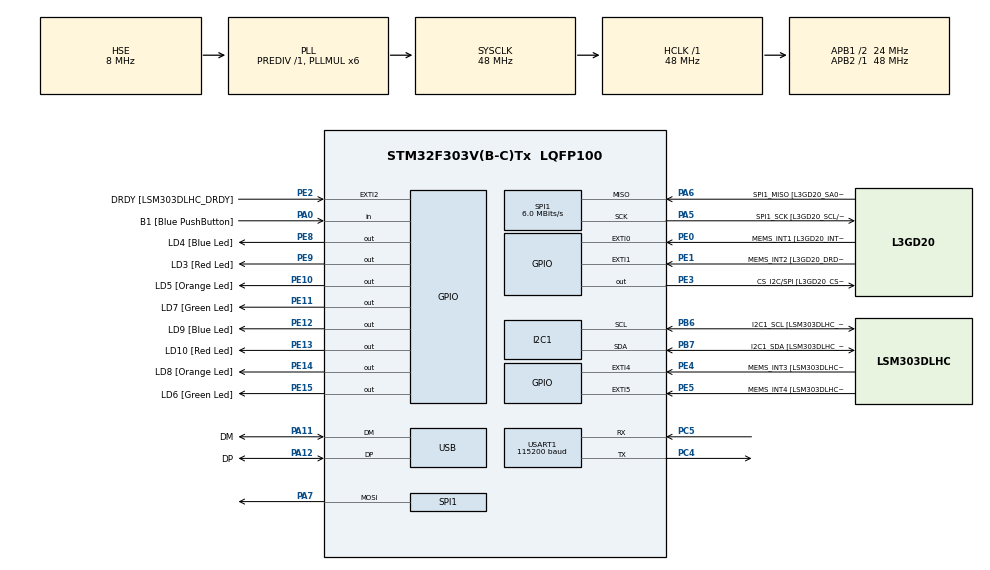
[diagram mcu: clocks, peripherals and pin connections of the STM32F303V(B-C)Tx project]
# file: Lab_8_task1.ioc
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I2C1.Timing=0x00201D2B
I2C1.Timing-I2C=0x2000090E
Mcu.Family=STM32F3
Mcu.Name=STM32F303V(B-C)Tx
Mcu.Package=LQFP100
NVIC.PriorityGroup=NVIC_PRIORITYGROUP_0
NVIC.SPI1_IRQn=true\:0\:0\:false\:false\:true\:true\:true\:true
PA0.GPIO_Label=B1 [Blue PushButton]
PA0.Signal=GPIO_Input
PA11.GPIO_Label=DM
PA11.Mode=Device
PA11.Signal=USB_DM
PA12.GPIO_Label=DP
PA12.Mode=Device
PA12.Signal=USB_DP
PA13.GPIO_Label=SWDIO
PA13.Mode=Serial_Wire
PA13.Signal=SYS_JTMS-SWDIO
PA14.GPIO_Label=SWCLK
PA14.Mode=Serial_Wire
PA14.Signal=SYS_JTCK-SWCLK
PA5.GPIO_Label=SPI1_SCK [L3GD20_SCL/SPC]
PA5.Mode=Full_Duplex_Master
PA5.Signal=SPI1_SCK
PA6.GPIO_Label=SPI1_MISO [L3GD20_SA0/SDO]
PA6.Mode=Full_Duplex_Master
PA6.Signal=SPI1_MISO
PA7.Mode=Full_Duplex_Master
PA7.Signal=SPI1_MOSI
PB3.GPIO_Label=SWO
PB3.Signal=SYS_JTDO-TRACESWO
PB6.GPIO_Label=I2C1_SCL [LSM303DLHC_SCL]
PB6.GPIO_Pu=GPIO_PULLUP
PB6.Mode=I2C
PB6.Signal=I2C1_SCL
PB7.GPIO_Label=I2C1_SDA [LSM303DLHC_SDA]
PB7.GPIO_Pu=GPIO_PULLUP
PB7.Mode=I2C
PB7.Signal=I2C1_SDA
PC14-OSC32_IN.GPIO_Label=OSC32_IN
PC14-OSC32_IN.Signal=RCC_OSC32_IN
PC15-OSC32_OUT.GPIO_Label=OSC32_OUT
PC15-OSC32_OUT.Signal=RCC_OSC32_OUT
PC4.Mode=Asynchronous
PC4.Signal=USART1_TX
PC5.Mode=Asynchronous
PC5.Signal=USART1_RX
PE0.GPIO_Label=MEMS_INT1 [L3GD20_INT1]
PE0.GPIO_ModeDefaultEXTI=GPIO_MODE_EVT_RISING
PE0.Signal=GPXTI0
PE1.GPIO_Label=MEMS_INT2 [L3GD20_DRDY/INT2]
PE1.GPIO_ModeDefaultEXTI=GPIO_MODE_EVT_RISING
PE1.Signal=GPXTI1
PE10.GPIO_Label=LD5 [Orange Led]
PE10.Signal=GPIO_Output
PE11.GPIO_Label=LD7 [Green Led]
PE11.Signal=GPIO_Output
PE12.GPIO_Label=LD9 [Blue Led]
PE12.Signal=GPIO_Output
PE13.GPIO_Label=LD10 [Red Led]
PE13.Signal=GPIO_Output
PE14.GPIO_Label=LD8 [Orange Led]
PE14.Signal=GPIO_Output
PE15.GPIO_Label=LD6 [Green Led]
PE15.Signal=GPIO_Output
PE2.GPIO_Label=DRDY [LSM303DLHC_DRDY]
PE2.GPIO_ModeDefaultEXTI=GPIO_MODE_EVT_RISING
PE2.Signal=GPXTI2
PE3.GPIO_Label=CS_I2C/SPI [L3GD20_CS_I2C/SPI]
PE3.Signal=GPIO_Output
PE4.GPIO_Label=MEMS_INT3 [LSM303DLHC_INT1]
PE4.GPIO_ModeDefaultEXTI=GPIO_MODE_EVT_RISING
PE4.Signal=GPXTI4
PE5.GPIO_Label=MEMS_INT4 [LSM303DLHC_INT2]
PE5.GPIO_ModeDefaultEXTI=GPIO_MODE_EVT_RISING
PE5.Signal=GPXTI5
PE8.GPIO_Label=LD4 [Blue Led]
PE8.Signal=GPIO_Output
PE9.GPIO_Label=LD3 [Red Led]
PE9.Signal=GPIO_Output
PF0-OSC_IN.GPIO_Label=OSC_IN
PF0-OSC_IN.Mode=HSE-External-Clock-Source
PF0-OSC_IN.Signal=RCC_OSC_IN
PF1-OSC_OUT.GPIO_Label=OSC_OUT
PF1-OSC_OUT.Signal=RCC_OSC_OUT
ProjectManager.HeapSize=0x200
ProjectManager.StackSize=0x400
ProjectManager.TargetToolchain=CMake
RCC.AHBFreq_Value=48000000
RCC.APB1CLKDivider=RCC_HCLK_DIV2
RCC.APB1Freq_Value=24000000
RCC.APB1TimFreq_Value=48000000
RCC.APB2Freq_Value=48000000
RCC.APB2TimFreq_Value=48000000
RCC.CortexFreq_Value=48000000
RCC.HCLKFreq_Value=48000000
RCC.HSE_VALUE=8000000
RCC.HSI_VALUE=8000000
RCC.LSE_VALUE=32768
RCC.PLLMUL=RCC_PLL_MUL6
RCC.SYSCLKFreq_VALUE=48000000
RCC.SYSCLKSourceVirtual=RCC_SYSCLKSOURCE_PLLCLK
RCC.USBFreq_Value=48000000
SPI1.BaudRatePrescaler=SPI_BAUDRATEPRESCALER_8
SPI1.CLKPhase=SPI_PHASE_2EDGE
SPI1.CLKPolarity=SPI_POLARITY_HIGH
SPI1.CalculateBaudRate=6.0 MBits/s
SPI1.DataSize=SPI_DATASIZE_8BIT
SPI1.Direction=SPI_DIRECTION_2LINES
SPI1.Mode=SPI_MODE_MASTER
SPI1.VirtualType=VM_MASTER
USART1.BaudRate=115200
USART1.VirtualMode-Asynchronous=VM_ASYNC
board=STM32F3DISCOVERY

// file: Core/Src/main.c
/* USER CODE BEGIN Header */
/**
  * @file           : main.c
  * @brief          : Main program body
  * @attention
  *
  * Copyright (c) 2026 STMicroelectronics.
  * All rights reserved.
  *
  * This software is licensed under terms that can be found in the LICENSE file
  * in the root directory of this software component.
  * If no LICENSE file comes with this software, it is provided AS-IS.
  *
  */
/* USER CODE END Header */

#include "main.h"

/* USER CODE BEGIN Includes */
#include <stdio.h>
/* USER CODE END Includes */

I2C_HandleTypeDef hi2c1;
SPI_HandleTypeDef hspi1;
UART_HandleTypeDef huart1;
PCD_HandleTypeDef hpcd_USB_FS;

/* USER CODE BEGIN PV */
#define GYRO_WHO_AM_I_REG   0x0F  // WHO_AM_I register address
#define GYRO_READ_BIT       0x80  // Bit 7 = 1 means READ operation
#define CTRL_REG1           0x20  // Control register 1
#define CTRL_REG1_VAL       0x0F  // 0b00001111 -> PD=1 (power on), X/Y/Z axes enabled
#define TEMP_REG            0x26  // Temperature output register (I3G4250D)

// Buffers for SPI interrupt mode
uint8_t tx_buf[1];  // Transmit buffer (sends register address command)
uint8_t rx_buf[1];  // Receive buffer (receives temperature byte)

// State flag to track where we are in the read sequence
volatile uint8_t spi_state = 0;

#define CTRL_REG4           0x23  // Control register 4 for sensitivity[cite: 15]
#define CTRL_REG4_VAL       0x00  // +/- 245 dps[cite: 15]

int16_t x_offset = 0, y_offset = 0, z_offset = 0;

/* USER CODE END PV */

void SystemClock_Config(void);
static void MX_GPIO_Init(void);
static void MX_I2C1_Init(void);
static void MX_SPI1_Init(void);
static void MX_USART1_UART_Init(void);
static void MX_USB_PCD_Init(void);

/* USER CODE BEGIN PFP */
void gyro_init(void);
void Gyro_RequestTemperature(void);
/* USER CODE END PFP */

/* USER CODE BEGIN 0 */
int _write(int file, char *ptr, int len) {
    HAL_UART_Transmit(&huart1, (uint8_t *)ptr, len, HAL_MAX_DELAY);
    return len;
}

void gyro_init(void) {
    uint8_t tx[2] = { CTRL_REG1, CTRL_REG1_VAL };
    HAL_GPIO_WritePin(GPIOE, CS_I2C_SPI_Pin, GPIO_PIN_RESET); // CS LOW
    HAL_SPI_Transmit(&hspi1, tx, 2, HAL_MAX_DELAY);
    HAL_GPIO_WritePin(GPIOE, CS_I2C_SPI_Pin, GPIO_PIN_SET);   // CS HIGH
}

void gyro_set_ctrl_reg4(void) {
    uint8_t tx[2] = { CTRL_REG4, CTRL_REG4_VAL };
    HAL_GPIO_WritePin(GPIOE, CS_I2C_SPI_Pin, GPIO_PIN_RESET); // CS LOW
    HAL_SPI_Transmit(&hspi1, tx, 2, HAL_MAX_DELAY);
    HAL_GPIO_WritePin(GPIOE, CS_I2C_SPI_Pin, GPIO_PIN_SET);   // CS HIGH
}

uint8_t spi_read(uint8_t reg) {
    uint8_t tx[2];
    uint8_t rx[2];
    tx[0] = reg | 0x80; // Read command (MSB = 1)
    tx[1] = 0x00;
    HAL_GPIO_WritePin(GPIOE, CS_I2C_SPI_Pin, GPIO_PIN_RESET);
    HAL_SPI_TransmitReceive(&hspi1, tx, rx, 2, HAL_MAX_DELAY);
    HAL_GPIO_WritePin(GPIOE, CS_I2C_SPI_Pin, GPIO_PIN_SET);
    return rx[1];
}

void gyro_calibrate(void) {
    int32_t x_sum = 0, y_sum = 0, z_sum = 0;
    const int samples = 30;
    for(int i = 0; i < samples; i++) {
        int16_t x = (int16_t)(spi_read(0x29) << 8 | spi_read(0x28));
        int16_t y = (int16_t)(spi_read(0x2B) << 8 | spi_read(0x2A));
        int16_t z = (int16_t)(spi_read(0x2D) << 8 | spi_read(0x2C));
        x_sum += x;
        y_sum += y;
        z_sum += z;
        HAL_Delay(5);
    }
    x_offset = x_sum / samples;
    y_offset = y_sum / samples;
    z_offset = z_sum / samples;
}
/* USER CODE END 0 */
int main(void)
{

  /* MCU Configuration--------------------------------------------------------*/
  HAL_Init();

  /* Configure the system clock */
  SystemClock_Config();

  /* Initialize all configured peripherals */
  MX_GPIO_Init();
  MX_I2C1_Init();
  MX_SPI1_Init();
  MX_USART1_UART_Init();
  MX_USB_PCD_Init();

/* USER CODE BEGIN 2 */
  HAL_GPIO_WritePin(GPIOE, CS_I2C_SPI_Pin, GPIO_PIN_SET);
  HAL_Delay(100);

  // Initialize gyroscope and set sensitivity
  gyro_init();
  gyro_set_ctrl_reg4();
  gyro_calibrate();
  /* USER CODE END 2 */

  /* Infinite loop */
  while (1)
  {

    /* USER CODE BEGIN 3 */
    uint8_t buffer[6];
    // OUT_X_L (0x28) + Read bit (0x80) + Auto-increment bit (0x40) = 0xE8
    uint8_t reg = 0x28 | 0x80 | 0x40;

    // 1. Perform a Burst Read for X, Y, and Z (6 bytes total)
    HAL_GPIO_WritePin(GPIOE, CS_I2C_SPI_Pin, GPIO_PIN_RESET);
    HAL_SPI_Transmit(&hspi1, &reg, 1, HAL_MAX_DELAY);
    HAL_SPI_Receive(&hspi1, buffer, 6, HAL_MAX_DELAY);
    HAL_GPIO_WritePin(GPIOE, CS_I2C_SPI_Pin, GPIO_PIN_SET);

    // 2. Reconstruct 16-bit signed values (little-endian format: low byte first)[cite: 16]
    int16_t x_raw = (int16_t)((buffer[1] << 8) | buffer[0]);
    int16_t y_raw = (int16_t)((buffer[3] << 8) | buffer[2]);
    int16_t z_raw = (int16_t)((buffer[5] << 8) | buffer[4]);

    // 3. Convert to Degrees per Second (dps) using +/-245 dps factor (0.00875)[cite: 16]
    float x_dps = (x_raw - x_offset) * 0.00875f;
    float y_dps = (y_raw - y_offset) * 0.00875f;
    float z_dps = (z_raw - z_offset) * 0.00875f;

    // 4. Read Temperature separately from OUT_TEMP (0x26)[cite: 16]
    int8_t temp = (int8_t)spi_read(TEMP_REG);

    // 5. Send values via UART using comma-separated format: <temp>, <x_dps>, <y_dps>, <z_dps>[cite: 16]
    printf("%d,%d,%d,%d\r\n",
          temp,
          (int)(x_dps * 100),
          (int)(y_dps * 100),
          (int)(z_dps * 100));

    HAL_Delay(100); // 100 ms delay between readings[cite: 17]
  }
  /* USER CODE END 3 */
}

void SystemClock_Config(void)
{
  RCC_OscInitTypeDef RCC_OscInitStruct = {0};
  RCC_ClkInitTypeDef RCC_ClkInitStruct = {0};
  RCC_PeriphCLKInitTypeDef PeriphClkInit = {0};

  /** Initializes the RCC Oscillators according to the specified parameters
  * in the RCC_OscInitTypeDef structure.
  */
  RCC_OscInitStruct.OscillatorType = RCC_OSCILLATORTYPE_HSI|RCC_OSCILLATORTYPE_HSE;
  RCC_OscInitStruct.HSEState = RCC_HSE_BYPASS;
  RCC_OscInitStruct.HSEPredivValue = RCC_HSE_PREDIV_DIV1;
  RCC_OscInitStruct.HSIState = RCC_HSI_ON;
  RCC_OscInitStruct.HSICalibrationValue = RCC_HSICALIBRATION_DEFAULT;
  RCC_OscInitStruct.PLL.PLLState = RCC_PLL_ON;
  RCC_OscInitStruct.PLL.PLLSource = RCC_PLLSOURCE_HSE;
  RCC_OscInitStruct.PLL.PLLMUL = RCC_PLL_MUL6;
  if (HAL_RCC_OscConfig(&RCC_OscInitStruct) != HAL_OK)
  {
    Error_Handler();
  }

  /** Initializes the CPU, AHB and APB buses clocks
  */
  RCC_ClkInitStruct.ClockType = RCC_CLOCKTYPE_HCLK|RCC_CLOCKTYPE_SYSCLK
                              |RCC_CLOCKTYPE_PCLK1|RCC_CLOCKTYPE_PCLK2;
  RCC_ClkInitStruct.SYSCLKSource = RCC_SYSCLKSOURCE_PLLCLK;
  RCC_ClkInitStruct.AHBCLKDivider = RCC_SYSCLK_DIV1;
  RCC_ClkInitStruct.APB1CLKDivider = RCC_HCLK_DIV2;
  RCC_ClkInitStruct.APB2CLKDivider = RCC_HCLK_DIV1;

  if (HAL_RCC_ClockConfig(&RCC_ClkInitStruct, FLASH_LATENCY_1) != HAL_OK)
  {
    Error_Handler();
  }
  PeriphClkInit.PeriphClockSelection = RCC_PERIPHCLK_USB|RCC_PERIPHCLK_USART1
                              |RCC_PERIPHCLK_I2C1;
  PeriphClkInit.Usart1ClockSelection = RCC_USART1CLKSOURCE_PCLK2;
  PeriphClkInit.I2c1ClockSelection = RCC_I2C1CLKSOURCE_HSI;
  PeriphClkInit.USBClockSelection = RCC_USBCLKSOURCE_PLL;
  if (HAL_RCCEx_PeriphCLKConfig(&PeriphClkInit) != HAL_OK)
  {
    Error_Handler();
  }
}

static void MX_I2C1_Init(void)
{

  hi2c1.Instance = I2C1;
  hi2c1.Init.Timing = 0x00201D2B;
  hi2c1.Init.OwnAddress1 = 0;
  hi2c1.Init.AddressingMode = I2C_ADDRESSINGMODE_7BIT;
  hi2c1.Init.DualAddressMode = I2C_DUALADDRESS_DISABLE;
  hi2c1.Init.OwnAddress2 = 0;
  hi2c1.Init.OwnAddress2Masks = I2C_OA2_NOMASK;
  hi2c1.Init.GeneralCallMode = I2C_GENERALCALL_DISABLE;
  hi2c1.Init.NoStretchMode = I2C_NOSTRETCH_DISABLE;
  if (HAL_I2C_Init(&hi2c1) != HAL_OK)
  {
    Error_Handler();
  }

  /** Configure Analogue filter
  */
  if (HAL_I2CEx_ConfigAnalogFilter(&hi2c1, I2C_ANALOGFILTER_ENABLE) != HAL_OK)
  {
    Error_Handler();
  }

  /** Configure Digital filter
  */
  if (HAL_I2CEx_ConfigDigitalFilter(&hi2c1, 0) != HAL_OK)
  {
    Error_Handler();
  }
}

static void MX_SPI1_Init(void)
{

  /* SPI1 parameter configuration*/
  hspi1.Instance = SPI1;
  hspi1.Init.Mode = SPI_MODE_MASTER;
  hspi1.Init.Direction = SPI_DIRECTION_2LINES;
  hspi1.Init.DataSize = SPI_DATASIZE_8BIT;
  hspi1.Init.CLKPolarity = SPI_POLARITY_HIGH;
  hspi1.Init.CLKPhase = SPI_PHASE_2EDGE;
  hspi1.Init.NSS = SPI_NSS_SOFT;
  hspi1.Init.BaudRatePrescaler = SPI_BAUDRATEPRESCALER_8;
  hspi1.Init.FirstBit = SPI_FIRSTBIT_MSB;
  hspi1.Init.TIMode = SPI_TIMODE_DISABLE;
  hspi1.Init.CRCCalculation = SPI_CRCCALCULATION_DISABLE;
  hspi1.Init.CRCPolynomial = 7;
  hspi1.Init.CRCLength = SPI_CRC_LENGTH_DATASIZE;
  hspi1.Init.NSSPMode = SPI_NSS_PULSE_DISABLE;
  if (HAL_SPI_Init(&hspi1) != HAL_OK)
  {
    Error_Handler();
  }
}

static void MX_USART1_UART_Init(void)
{

  huart1.Instance = USART1;
  huart1.Init.BaudRate = 115200;
  huart1.Init.WordLength = UART_WORDLENGTH_8B;
  huart1.Init.StopBits = UART_STOPBITS_1;
  huart1.Init.Parity = UART_PARITY_NONE;
  huart1.Init.Mode = UART_MODE_TX_RX;
  huart1.Init.HwFlowCtl = UART_HWCONTROL_NONE;
  huart1.Init.OverSampling = UART_OVERSAMPLING_16;
  huart1.Init.OneBitSampling = UART_ONE_BIT_SAMPLE_DISABLE;
  huart1.AdvancedInit.AdvFeatureInit = UART_ADVFEATURE_NO_INIT;
  if (HAL_UART_Init(&huart1) != HAL_OK)
  {
    Error_Handler();
  }
}

static void MX_USB_PCD_Init(void)
{

  hpcd_USB_FS.Instance = USB;
  hpcd_USB_FS.Init.dev_endpoints = 8;
  hpcd_USB_FS.Init.speed = PCD_SPEED_FULL;
  hpcd_USB_FS.Init.phy_itface = PCD_PHY_EMBEDDED;
  hpcd_USB_FS.Init.low_power_enable = DISABLE;
  hpcd_USB_FS.Init.battery_charging_enable = DISABLE;
  if (HAL_PCD_Init(&hpcd_USB_FS) != HAL_OK)
  {
    Error_Handler();
  }
}

static void MX_GPIO_Init(void)
{
  GPIO_InitTypeDef GPIO_InitStruct = {0};

  /* GPIO Ports Clock Enable */
  __HAL_RCC_GPIOE_CLK_ENABLE();
  __HAL_RCC_GPIOC_CLK_ENABLE();
  __HAL_RCC_GPIOF_CLK_ENABLE();
  __HAL_RCC_GPIOA_CLK_ENABLE();
  __HAL_RCC_GPIOB_CLK_ENABLE();

  /*Configure GPIO pin Output Level */
  HAL_GPIO_WritePin(GPIOE, CS_I2C_SPI_Pin|LD4_Pin|LD3_Pin|LD5_Pin
                          |LD7_Pin|LD9_Pin|LD10_Pin|LD8_Pin
                          |LD6_Pin, GPIO_PIN_RESET);

  /*Configure GPIO pins : DRDY_Pin MEMS_INT3_Pin MEMS_INT4_Pin MEMS_INT1_Pin
                           MEMS_INT2_Pin */
  GPIO_InitStruct.Pin = DRDY_Pin|MEMS_INT3_Pin|MEMS_INT4_Pin|MEMS_INT1_Pin
                          |MEMS_INT2_Pin;
  GPIO_InitStruct.Mode = GPIO_MODE_EVT_RISING;
  GPIO_InitStruct.Pull = GPIO_NOPULL;
  HAL_GPIO_Init(GPIOE, &GPIO_InitStruct);

  /*Configure GPIO pins : CS_I2C_SPI_Pin LD4_Pin LD3_Pin LD5_Pin
                           LD7_Pin LD9_Pin LD10_Pin LD8_Pin
                           LD6_Pin */
  GPIO_InitStruct.Pin = CS_I2C_SPI_Pin|LD4_Pin|LD3_Pin|LD5_Pin
                          |LD7_Pin|LD9_Pin|LD10_Pin|LD8_Pin
                          |LD6_Pin;
  GPIO_InitStruct.Mode = GPIO_MODE_OUTPUT_PP;
  GPIO_InitStruct.Pull = GPIO_NOPULL;
  GPIO_InitStruct.Speed = GPIO_SPEED_FREQ_LOW;
  HAL_GPIO_Init(GPIOE, &GPIO_InitStruct);

  /*Configure GPIO pin : B1_Pin */
  GPIO_InitStruct.Pin = B1_Pin;
  GPIO_InitStruct.Mode = GPIO_MODE_INPUT;
  GPIO_InitStruct.Pull = GPIO_NOPULL;
  HAL_GPIO_Init(B1_GPIO_Port, &GPIO_InitStruct);

}

/* USER CODE BEGIN 4 */
// void gyro_init(void)
// {
//     uint8_t tx[2] = { CTRL_REG1, CTRL_REG1_VAL };

//     // CS LOW — begin SPI communication
//     HAL_GPIO_WritePin(GPIOE, CS_I2C_SPI_Pin, GPIO_PIN_RESET);

//     // Send CTRL_REG1 address + value in one transmission (polling is fine for init)
//     HAL_SPI_Transmit(&hspi1, tx, 2, HAL_MAX_DELAY);

//     // CS HIGH — end SPI communication
//     HAL_GPIO_WritePin(GPIOE, CS_I2C_SPI_Pin, GPIO_PIN_SET);
// }

void Gyro_RequestTemperature(void)
{
    tx_buf[0] = GYRO_READ_BIT | TEMP_REG; // 0x80 | 0x26 = 0xA6 (read temp register)

    // CS LOW — begin SPI communication
    HAL_GPIO_WritePin(GPIOE, CS_I2C_SPI_Pin, GPIO_PIN_RESET);

    // Send command byte in interrupt mode (non-blocking)
    HAL_SPI_Transmit_IT(&hspi1, tx_buf, 1);

    // Execution continues immediately — callback will fire when done
}

void HAL_SPI_TxCpltCallback(SPI_HandleTypeDef *hspi)
{
    if (hspi->Instance == SPI1)
    {
        // TX done — now receive the temperature data in interrupt mode
        HAL_SPI_Receive_IT(&hspi1, rx_buf, 1);
    }
}

void HAL_SPI_RxCpltCallback(SPI_HandleTypeDef *hspi)
{
    if (hspi->Instance == SPI1)
    {
        // CS HIGH — end SPI communication
        HAL_GPIO_WritePin(GPIOE, CS_I2C_SPI_Pin, GPIO_PIN_SET);

        int8_t temperature = (int8_t)rx_buf[0];

        // Print temperature value via UART using standard printf (routed to huart1 via _write)
        printf("Temperature: %d\r\n", temperature);

        spi_state = 1;
    }
}
/* USER CODE END 4 */

void Error_Handler(void)
{
  __disable_irq();
  while (1)
  {
  }
}
